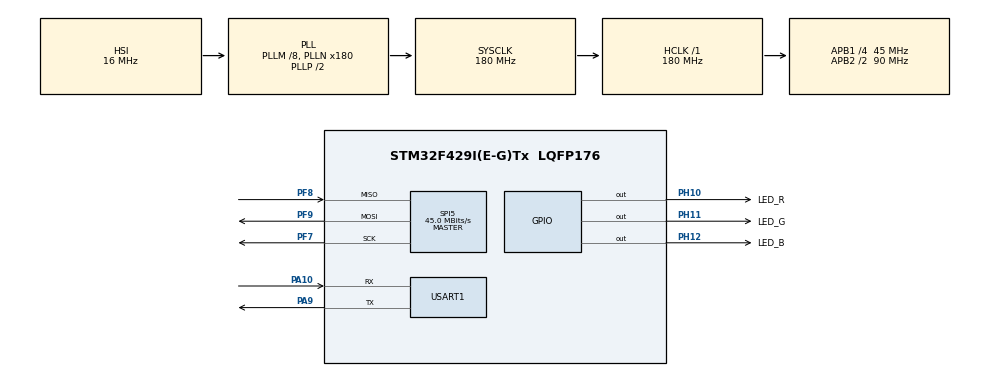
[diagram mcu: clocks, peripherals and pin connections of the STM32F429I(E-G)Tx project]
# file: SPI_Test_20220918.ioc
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Mcu.Family=STM32F4
Mcu.Name=STM32F429I(E-G)Tx
Mcu.Package=LQFP176
NVIC.PriorityGroup=NVIC_PRIORITYGROUP_4
NVIC.SPI5_IRQn=true\:0\:0\:false\:false\:true\:true\:true
PA10.Mode=Asynchronous
PA10.Signal=USART1_RX
PA9.Mode=Asynchronous
PA9.Signal=USART1_TX
PF7.Mode=Full_Duplex_Master
PF7.Signal=SPI5_SCK
PF8.Mode=Full_Duplex_Master
PF8.Signal=SPI5_MISO
PF9.Mode=Full_Duplex_Master
PF9.Signal=SPI5_MOSI
PH0/OSC_IN.Mode=HSE-External-Oscillator
PH0/OSC_IN.Signal=RCC_OSC_IN
PH1/OSC_OUT.Mode=HSE-External-Oscillator
PH1/OSC_OUT.Signal=RCC_OSC_OUT
PH10.GPIO_Label=LED_R
PH10.Signal=GPIO_Output
PH11.GPIO_Label=LED_G
PH11.Signal=GPIO_Output
PH12.GPIO_Label=LED_B
PH12.Signal=GPIO_Output
ProjectManager.HeapSize=0x200
ProjectManager.StackSize=0x400
ProjectManager.TargetToolchain=MDK-ARM V5.27
RCC.48MHZClocksFreq_Value=90000000
RCC.AHBFreq_Value=180000000
RCC.APB1CLKDivider=RCC_HCLK_DIV4
RCC.APB1Freq_Value=45000000
RCC.APB1TimFreq_Value=90000000
RCC.APB2CLKDivider=RCC_HCLK_DIV2
RCC.APB2Freq_Value=90000000
RCC.APB2TimFreq_Value=180000000
RCC.CortexFreq_Value=180000000
RCC.HCLKFreq_Value=180000000
RCC.HSE_VALUE=25000000
RCC.HSI_VALUE=16000000
RCC.LSE_VALUE=32768
RCC.PLLM=8
RCC.PLLN=180
RCC.SYSCLKFreq_VALUE=180000000
RCC.SYSCLKSource=RCC_SYSCLKSOURCE_PLLCLK
RCC.VCOOutputFreq_Value=360000000
SPI5.CalculateBaudRate=45.0 MBits/s
SPI5.Direction=SPI_DIRECTION_2LINES
SPI5.Mode=SPI_MODE_MASTER
SPI5.VirtualType=VM_MASTER
USART1.VirtualMode=VM_ASYNC
board=custom

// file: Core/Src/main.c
/* USER CODE BEGIN Header */
/**
  ******************************************************************************
  * @file           : main.c
  * @brief          : Main program body
  ******************************************************************************
  * @attention
  *
  * <h2><center>&copy; Copyright (c) 2022 STMicroelectronics.
  * All rights reserved.</center></h2>
  *
  * This software component is licensed by ST under BSD 3-Clause license,
  * the "License"; You may not use this file except in compliance with the
  * License. You may obtain a copy of the License at:
  *                        opensource.org/licenses/BSD-3-Clause
  *
  ******************************************************************************
  */
/* USER CODE END Header */
#include "main.h"
#include "spi.h"
#include "usart.h"
#include "gpio.h"

/* USER CODE BEGIN PTD */
typedef enum
{
	FAILED = 0,
	PASSED
}TestStatus;

/* USER CODE END PTD */

/* USER CODE BEGIN PD */
#define countof(a)						(sizeof(a) / sizeof(*(a)))
#define BufferSize						(countof(Tx_Buffer) - 1)
#define FLASH_WriteAddress		0x00000
#define FLASH_ReadAddress			FLASH_WriteAddress
#define FLASH_SectorToErase		FLASH_WriteAddress
/* USER CODE END PD */

/* USER CODE BEGIN PV */
uint8_t Tx_Buffer[] = "STM32 SPI TEST\r\n";
uint8_t Rx_Buffer[BufferSize];

__IO uint32_t DeviceID = 0;
__IO uint32_t FlashID = 0;
__IO TestStatus TransferStatus1 = FAILED;

/* USER CODE END PV */

void SystemClock_Config(void);

int main(void)
{

  /* MCU Configuration--------------------------------------------------------*/

  /* Reset of all peripherals, Initializes the Flash interface and the Systick. */
  HAL_Init();

  /* Configure the system clock */
  SystemClock_Config();

  /* Initialize all configured peripherals */
  MX_GPIO_Init();
  MX_SPI5_Init();
  MX_USART1_UART_Init();
  /* USER CODE BEGIN 2 */

	printf("This is 16M SPI Serial FLASH (W25Q128) SPI Drive Test \r\n");

	DeviceID =  SPI_FLASH_ReadDeviceID();

	HAL_Delay(100);

	FlashID = SPI_FLASH_ReadID();

	printf("\n	Flash Id is 0x%X, Device Id is 0x%X	\r\n", FlashID, DeviceID);

	//LED BLUE
	HAL_GPIO_WritePin(GPIOH, LED_B_Pin, GPIO_PIN_RESET);
	HAL_GPIO_WritePin(GPIOH, LED_R_Pin|LED_G_Pin, GPIO_PIN_SET);

	HAL_Delay(3000);

	if(sFLASH_ID == FlashID)
	{
		printf("\r\n	Detect SPI FLASH W25Q128!	\r\n");

		SPI_FLASH_SectorErase(FLASH_SectorToErase);

		SPI_FLASH_BufferWrite(Tx_Buffer, FLASH_WriteAddress, BufferSize);
		printf("\r\n	Data to write is:\r\n%s", Tx_Buffer);

		SPI_FLASH_BufferRead(Rx_Buffer, FLASH_ReadAddress, BufferSize);
		printf("\r\n	Data to read is:\r\n%s", Rx_Buffer);

		//LED Green
		HAL_GPIO_WritePin(GPIOH, LED_G_Pin, GPIO_PIN_RESET);
		HAL_GPIO_WritePin(GPIOH, LED_R_Pin|LED_B_Pin, GPIO_PIN_SET);

		HAL_Delay(1000);

	}
	else
	{
		//LED Red
		HAL_GPIO_WritePin(GPIOH, LED_R_Pin, GPIO_PIN_RESET);
		HAL_GPIO_WritePin(GPIOH, LED_G_Pin|LED_B_Pin, GPIO_PIN_SET);

		HAL_Delay(1000);
	}

  /* USER CODE END 2 */

  /* Infinite loop */
  while (1)
  {

  }
}

void SystemClock_Config(void)
{
  RCC_OscInitTypeDef RCC_OscInitStruct = {0};
  RCC_ClkInitTypeDef RCC_ClkInitStruct = {0};

  /** Configure the main internal regulator output voltage
  */
  __HAL_RCC_PWR_CLK_ENABLE();
  __HAL_PWR_VOLTAGESCALING_CONFIG(PWR_REGULATOR_VOLTAGE_SCALE1);
  /** Initializes the RCC Oscillators according to the specified parameters
  * in the RCC_OscInitTypeDef structure.
  */
  RCC_OscInitStruct.OscillatorType = RCC_OSCILLATORTYPE_HSI;
  RCC_OscInitStruct.HSIState = RCC_HSI_ON;
  RCC_OscInitStruct.HSICalibrationValue = RCC_HSICALIBRATION_DEFAULT;
  RCC_OscInitStruct.PLL.PLLState = RCC_PLL_ON;
  RCC_OscInitStruct.PLL.PLLSource = RCC_PLLSOURCE_HSI;
  RCC_OscInitStruct.PLL.PLLM = 8;
  RCC_OscInitStruct.PLL.PLLN = 180;
  RCC_OscInitStruct.PLL.PLLP = RCC_PLLP_DIV2;
  RCC_OscInitStruct.PLL.PLLQ = 4;
  if (HAL_RCC_OscConfig(&RCC_OscInitStruct) != HAL_OK)
  {
    Error_Handler();
  }
  /** Activate the Over-Drive mode
  */
  if (HAL_PWREx_EnableOverDrive() != HAL_OK)
  {
    Error_Handler();
  }
  /** Initializes the CPU, AHB and APB buses clocks
  */
  RCC_ClkInitStruct.ClockType = RCC_CLOCKTYPE_HCLK|RCC_CLOCKTYPE_SYSCLK
                              |RCC_CLOCKTYPE_PCLK1|RCC_CLOCKTYPE_PCLK2;
  RCC_ClkInitStruct.SYSCLKSource = RCC_SYSCLKSOURCE_PLLCLK;
  RCC_ClkInitStruct.AHBCLKDivider = RCC_SYSCLK_DIV1;
  RCC_ClkInitStruct.APB1CLKDivider = RCC_HCLK_DIV4;
  RCC_ClkInitStruct.APB2CLKDivider = RCC_HCLK_DIV2;

  if (HAL_RCC_ClockConfig(&RCC_ClkInitStruct, FLASH_LATENCY_5) != HAL_OK)
  {
    Error_Handler();
  }
}

void Error_Handler(void)
{
  __disable_irq();
  while (1)
  {
  }
}

/************************ (C) COPYRIGHT STMicroelectronics *****END OF FILE****/
